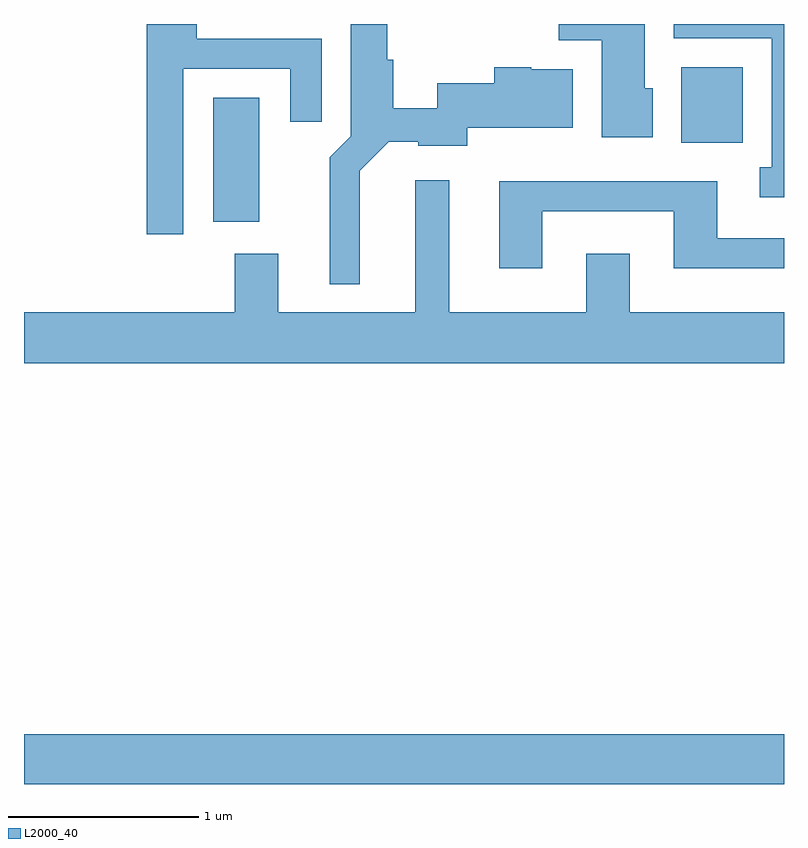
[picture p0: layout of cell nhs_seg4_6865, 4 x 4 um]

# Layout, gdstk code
import gdstk
lib = gdstk.Library(unit=1e-6, precision=1e-09)
def R(c, l, rs):  # rectangles x0, y0, x1, y1
    for r in rs: c.add(gdstk.rectangle(r[:2], r[2:], *l))
def P(c, l, *ps):  # polygons
    for p in ps: c.add(gdstk.Polygon(p, *l))
L2000_40 = (2000, 40)

nhs_seg4_6865 = lib.new_cell('nhs_seg4_6865')
R(nhs_seg4_6865, L2000_40, [(385.611,1387.982,389.611,1388.244), (386.606,1390.941,386.849,1391.594), (389.071,1391.356,389.394,1391.754)])
P(nhs_seg4_6865, L2000_40, [(388.919,1391.644),(388.879,1391.644),(388.879,1391.982),(388.426,1391.982),(388.426,1391.896),(388.651,1391.896),(388.651,1391.386),(388.919,1391.386)],
  [(387.379,1391.209),(387.532,1391.361),(387.686,1391.361),(387.686,1391.341),(387.944,1391.341),(387.944,1391.436),(388.499,1391.436),(388.499,1391.744),(388.28,1391.744),(388.28,1391.754),(388.086,1391.754),(388.086,1391.669),(387.786,1391.669),(387.786,1391.539),(387.554,1391.539),(387.554,1391.794),(387.524,1391.794),(387.524,1391.982),(387.331,1391.982),(387.331,1391.392),(387.221,1391.282),(387.221,1390.613),(387.379,1390.613)],
  [(386.449,1391.746),(387.011,1391.746),(387.011,1391.468),(387.179,1391.468),(387.179,1391.904),(386.519,1391.904),(386.519,1391.982),(386.256,1391.982),(386.256,1390.876),(386.449,1390.876)],
  [(389.611,1391.982),(389.031,1391.982),(389.031,1391.906),(389.546,1391.906),(389.546,1391.229),(389.483,1391.229),(389.483,1391.071),(389.611,1391.071)],
  [(389.611,1390.464),(388.799,1390.464),(388.799,1390.774),(388.571,1390.774),(388.571,1390.464),(387.849,1390.464),(387.849,1391.159),(387.671,1391.159),(387.671,1390.464),(386.949,1390.464),(386.949,1390.774),(386.721,1390.774),(386.721,1390.464),(385.611,1390.464),(385.611,1390.196),(389.611,1390.196)],
  [(388.339,1390.996),(389.031,1390.996),(389.031,1390.696),(389.611,1390.696),(389.611,1390.854),(389.259,1390.854),(389.259,1391.154),(388.111,1391.154),(388.111,1390.696),(388.339,1390.696)])

lib.write_gds('nhs_seg4_6865.gds')
